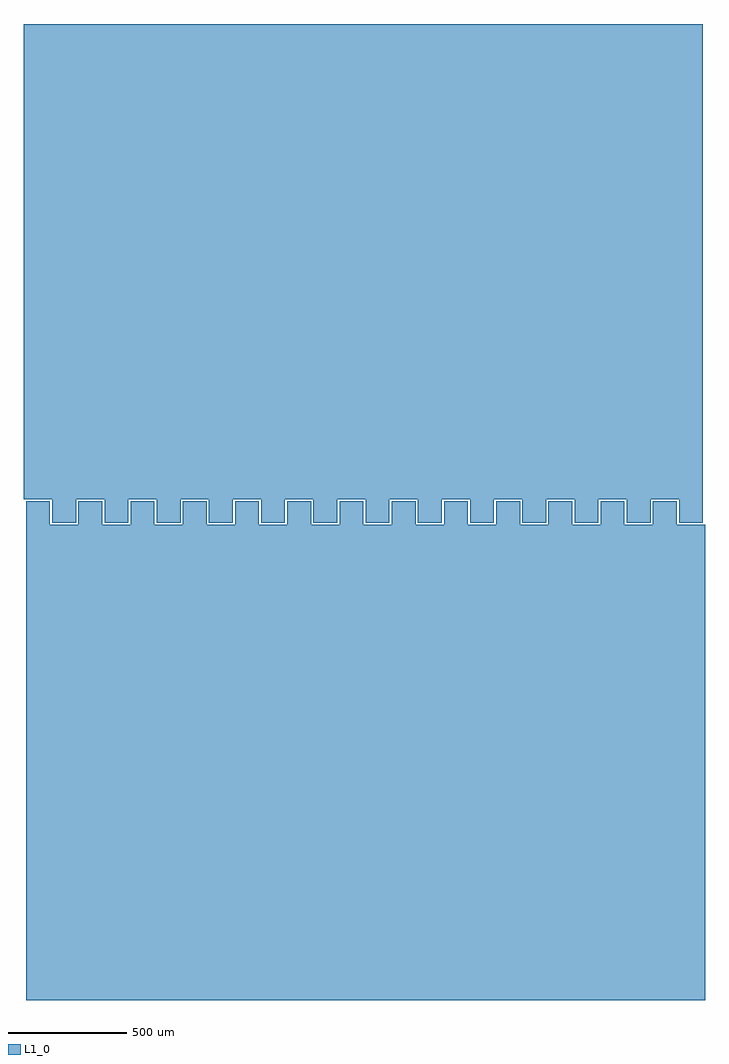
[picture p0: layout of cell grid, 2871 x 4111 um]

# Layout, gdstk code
import gdstk
lib = gdstk.Library(unit=1e-6, precision=1e-09)
def P(c, l, *ps):  # polygons
    for p in ps: c.add(gdstk.Polygon(p, *l))
L1_0 = (1, 0)

base = lib.new_cell('base')
P(base, L1_0, [(-50.5,-2000.5),(-50.5,0.5),(-50,0.5),(-50,100.5),(50,100.5),(50,0.5),(170.5,0.5),(170.5,-2000.5)],
  [(60,9.5),(60,109.5),(-60.5,109.5),(-60.5,2110.5),(160.5,2110.5),(160.5,109.5),(160,109.5),(160,9.5)])

grid = lib.new_cell('grid')
r = gdstk.Reference(base, (0,0)); r.repetition = gdstk.Repetition(13, 1, v1=(220,0), v2=(0,0)); grid.add(r)

lib.write_gds('grid.gds')
